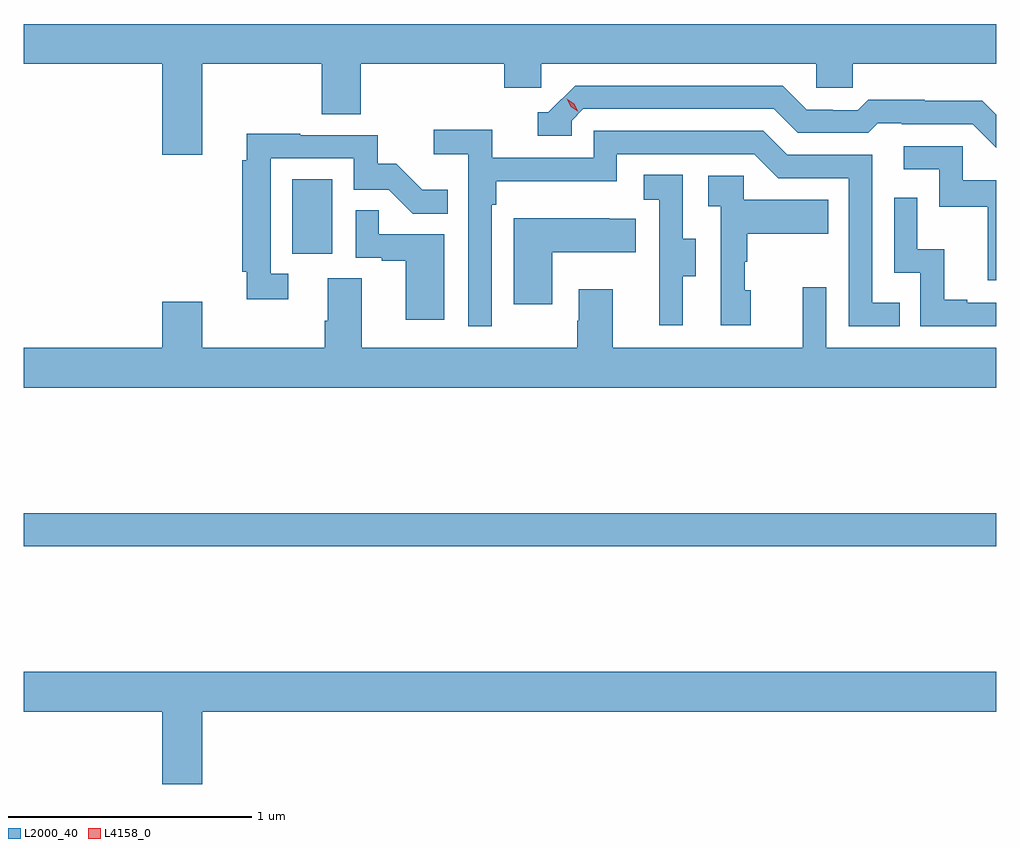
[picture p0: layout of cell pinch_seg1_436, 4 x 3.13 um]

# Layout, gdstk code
import gdstk
lib = gdstk.Library(unit=1e-6, precision=1e-09)
def R(c, l, rs):  # rectangles x0, y0, x1, y1
    for r in rs: c.add(gdstk.rectangle(r[:2], r[2:], *l))
def P(c, l, *ps):  # polygons
    for p in ps: c.add(gdstk.Polygon(p, *l))
L2000_40 = (2000, 40)
L4158_0 = (4158, 0)

pinch_seg1_436 = lib.new_cell('pinch_seg1_436')
R(pinch_seg1_436, L2000_40, [(967.634,515.116,971.634,515.252), (968.738,516.318,968.902,516.625)])
P(pinch_seg1_436, L2000_40, [(967.634,517.1),(968.204,517.1),(968.204,516.726),(968.368,516.726),(968.368,517.1),(968.86,517.1),(968.86,516.892),(969.02,516.892),(969.02,517.1),(969.611,517.1),(969.611,517.002),(969.762,517.002),(969.762,517.1),(970.893,517.1),(970.893,517.002),(971.043,517.002),(971.043,517.1),(971.634,517.1),(971.634,517.264),(967.634,517.264)],
  [(971.634,516.891),(971.576,516.949),(971.34,516.949),(971.34,516.952),(971.107,516.952),(971.065,516.909),(970.962,516.909),(970.962,516.912),(970.855,516.912),(970.756,517.011),(969.903,517.011),(969.792,516.9),(969.749,516.9),(969.749,516.804),(969.888,516.804),(969.888,516.867),(969.936,516.915),(970.719,516.915),(970.818,516.816),(971.107,516.816),(971.146,516.855),(971.245,516.855),(971.245,516.852),(971.538,516.852),(971.634,516.756)],
  [(969.558,516.521),(969.578,516.521),(969.578,516.617),(970.074,516.617),(970.074,516.729),(970.638,516.729),(970.737,516.63),(971.028,516.63),(971.028,516.021),(971.237,516.021),(971.237,516.117),(971.124,516.117),(971.124,516.726),(970.774,516.726),(970.675,516.825),(969.978,516.825),(969.978,516.714),(969.56,516.714),(969.56,516.83),(969.321,516.83),(969.321,516.728),(969.462,516.728),(969.462,516.02),(969.558,516.02)],
  [(968.722,516.237),(968.649,516.237),(968.649,516.711),(968.991,516.711),(968.991,516.582),(969.135,516.582),(969.233,516.484),(969.377,516.484),(969.377,516.583),(969.273,516.583),(969.166,516.69),(969.09,516.69),(969.09,516.807),(968.771,516.807),(968.771,516.812),(968.552,516.812),(968.552,516.704),(968.533,516.704),(968.533,516.244),(968.552,516.244),(968.552,516.132),(968.722,516.132)],
  [(971.634,516.621),(971.496,516.621),(971.496,516.762),(971.253,516.762),(971.253,516.666),(971.4,516.666),(971.4,516.513),(971.599,516.513),(971.599,516.21),(971.634,516.21)],
  [(970.345,516.226),(970.399,516.226),(970.399,516.381),(970.344,516.381),(970.344,516.644),(970.185,516.644),(970.185,516.541),(970.248,516.541),(970.248,516.237),(970.247,516.237),(970.247,516.024),(970.345,516.024)],
  [(970.624,516.168),(970.599,516.168),(970.599,516.287),(970.609,516.287),(970.609,516.401),(970.943,516.401),(970.943,516.541),(970.596,516.541),(970.596,516.639),(970.449,516.639),(970.449,516.515),(970.5,516.515),(970.5,516.024),(970.624,516.024)],
  [(971.634,516.117),(971.515,516.117),(971.515,516.13),(971.42,516.13),(971.42,516.338),(971.31,516.338),(971.31,516.55),(971.214,516.55),(971.214,516.24),(971.322,516.24),(971.322,516.021),(971.634,516.021)],
  [(969.364,516.399),(969.095,516.399),(969.095,516.497),(969,516.497),(969,516.303),(969.107,516.303),(969.107,516.291),(969.206,516.291),(969.206,516.048),(969.364,516.048)],
  [(969.808,516.326),(970.151,516.326),(970.151,516.463),(970.043,516.463),(970.043,516.466),(969.65,516.466),(969.65,516.111),(969.808,516.111)],
  [(971.634,515.932),(970.935,515.932),(970.935,516.181),(970.838,516.181),(970.838,515.932),(970.057,515.932),(970.057,516.172),(969.917,516.172),(969.917,516.044),(969.91,516.044),(969.91,515.932),(969.025,515.932),(969.025,516.218),(968.885,516.218),(968.885,516.044),(968.873,516.044),(968.873,515.932),(968.368,515.932),(968.368,516.121),(968.204,516.121),(968.204,515.932),(967.634,515.932),(967.634,515.768),(971.634,515.768)],
  [(968.368,514.436),(971.634,514.436),(971.634,514.6),(967.634,514.6),(967.634,514.436),(968.204,514.436),(968.204,514.138),(968.368,514.138)])
P(pinch_seg1_436, L4158_0, [(969.914,516.903),(969.884,516.923),(969.868,516.956),(969.868,516.956),(969.868,516.956),(969.899,516.936),(969.914,516.903),(969.914,516.903)])

lib.write_gds('pinch_seg1_436.gds')
